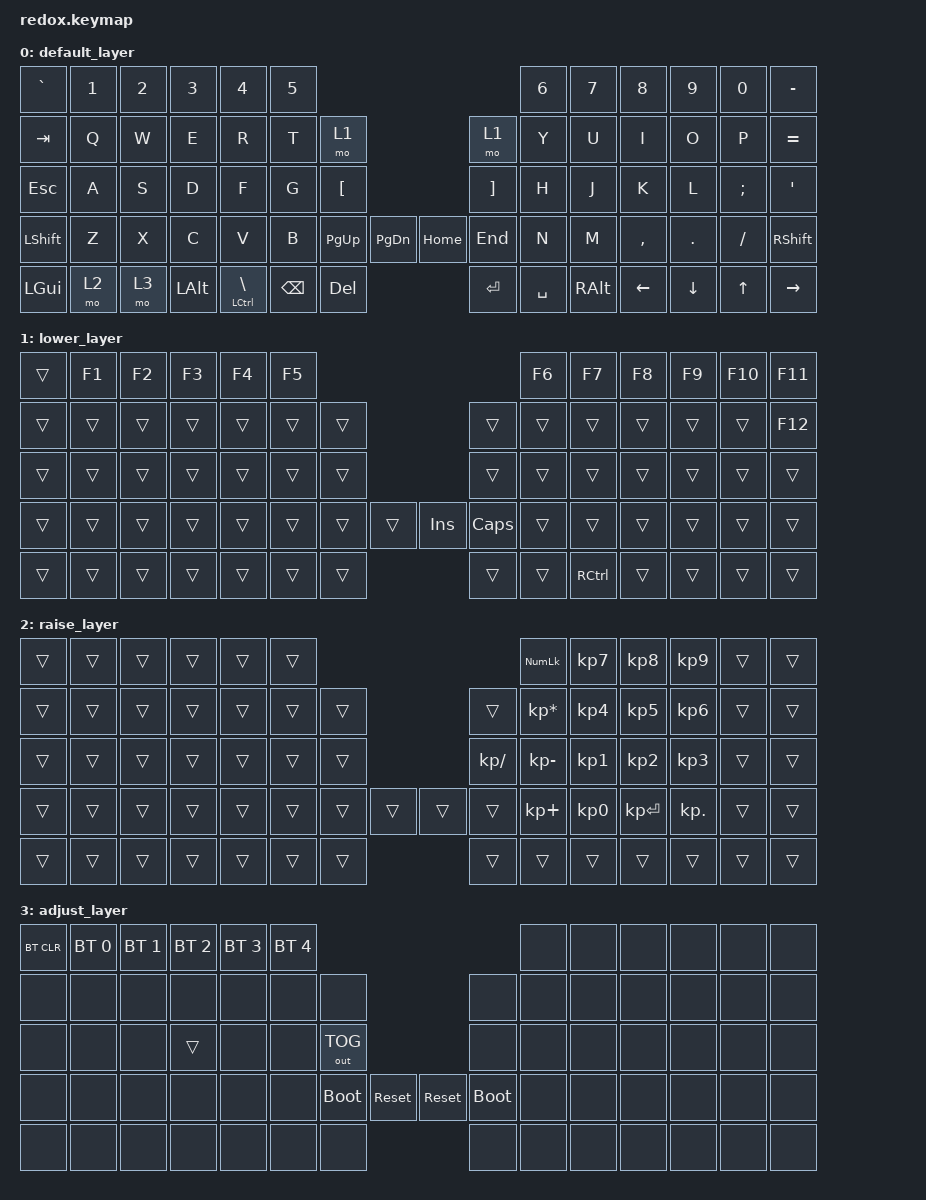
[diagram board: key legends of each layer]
/*
 * Copyright (c) 2021 The ZMK Contributors
 *
 * SPDX-License-Identifier: MIT
 */

#include <behaviors.dtsi>
#include <dt-bindings/zmk/keys.h>
#include <dt-bindings/zmk/bt.h>
#include <dt-bindings/zmk/outputs.h>

/ {
    keymap {
        compatible = "zmk,keymap";

        default_layer {
            // --------------------------------------------------------------------------------------------------------------------------------
            // | ESC   |  1  |  2  |   3   |  4  |  5  |                   ---                |  6    |  7    |  8    |  9   | 0  |    BKSP   |
            // | TAB   |  Q  |  W  |   E   |  R  |  T  |   (   |           ---        |  )    |  Y    |  U    |  I    |  O   | P  |     -     |
            // | CTRL  |  A  |  S  |   D   |  F  |  G  |   [   |           ---        |  ]    |  H    |  J    |  K    |  L   | ;  |     '     |
            // | SHIFT |  Z  |  X  |   C   |  V  |  B  | PG_UP | PG_DOWN | --- | HOME | END   |  N    |  M    |  ,    |  .   | /  | SHFT(RET) |
            // | CRTL  | ALT | GUI | LOWER |    GUI    | LOWER | SPACE   | --- | DEL  | SPACE |     RAISE     | LEFT  | DOWN | UP |   RIGHT   |

            bindings = <
 &kp GRAVE  &kp N1  &kp N2        &kp N3                      &kp N4  &kp N5                                                  &kp N6         &kp N7     &kp N8    &kp N9    &kp N0  &kp MINUS
   &kp TAB   &kp Q   &kp W         &kp E                       &kp R   &kp T          &mo 1                            &mo 1   &kp Y          &kp U      &kp I     &kp O     &kp P  &kp EQUAL
&kp ESCAPE   &kp A   &kp S         &kp D                       &kp F   &kp G       &kp LBKT                         &kp RBKT   &kp H          &kp J      &kp K     &kp L  &kp SEMI    &kp SQT
 &kp LSHFT   &kp Z   &kp X         &kp C                       &kp V   &kp B      &kp PG_UP  &kp PG_DN   &kp HOME    &kp END   &kp N          &kp M  &kp COMMA   &kp DOT  &kp FSLH  &kp RSHFT
  &kp LGUI   &mo 2   &mo 3  &kp LEFT_ALT  &mt LEFT_CONTROL BACKSLASH          &kp BACKSPACE    &kp DEL  &kp ENTER  &kp SPACE          &kp RIGHT_ALT   &kp LEFT  &kp DOWN    &kp UP  &kp RIGHT
            >;
        };

        lower_layer {
            // --------------------------------------------------------------------------------------------------------------------------
            // | ESC   |  1  |  2  |   3   |   4   |  5  |                   ---              |  6  |  7  |   8  |  9   |  0  |  DEL  |
            // | ESC   |  1  |  2  |   3   |   4   |  5  |   (   |           ---        |  )  |  6  |  7  |   8  |  9   |  0  |  DEL  |
            // | CTRL  |  -  |  =  |   [   |   ]   |  \  |   [   |           ---        |  ]  |  *  |  4  |   5  |  6   |  +  |   -   |
            // | SHIFT | ESC | GUI | COPY  | PASTE |     | PG_UP | PG_DOWN | --- | HOME | END |  \  |  1  |   2  |  3   | RET |  RET  |
            // | CRTL  | ALT | GUI | LOWER |     GUI     | LOWER | SPACE   | --- | DEL  |  0  |    RAISE  | LEFT | DOWN | UP  | RIGHT |

            bindings = <
&trans  &kp F1  &kp F2  &kp F3  &kp F4  &kp F5                                         &kp F6             &kp F7  &kp F8  &kp F9  &kp F10  &kp F11
&trans  &trans  &trans  &trans  &trans  &trans  &trans                         &trans  &trans             &trans  &trans  &trans   &trans  &kp F12
&trans  &trans  &trans  &trans  &trans  &trans  &trans                         &trans  &trans             &trans  &trans  &trans   &trans   &trans
&trans  &trans  &trans  &trans  &trans  &trans  &trans  &trans  &kp INS  &kp CAPSLOCK  &trans             &trans  &trans  &trans   &trans   &trans
&trans  &trans  &trans  &trans  &trans          &trans  &trans   &trans        &trans          &kp RIGHT_CONTROL  &trans  &trans   &trans   &trans
            >;
        };

        raise_layer {
            // ----------------------------------------------------------------------------------------------------------------------------
            // | ESC   |  1  |  2  |   3   |  4  |  5  |                   ---                |  6   |  7   |  8   |  9   |  0    |  DEL  |
            // | ESC   |  !  |  @  |   #   |  $  |  %  |   (   |           ---        |  )    |  ^   |  &   |  *   |  (   |  )    |  DEL  |
            // | CTRL  |  _  |  +  |   {   |  }  | "|" |   [   |           ---        |  ]    | HOME | PGUP | PRSC | UP   |  `    |   ~   |
            // | SHIFT | ESC | GUI |   (   |  )  |     | PG_UP | PG_DOWN | --- | HOME | END   | END  | PGDN | LEFT | DOWN | RIGHT |  RET  |
            // | CRTL  | ALT | GUI | LOWER |    GUI    | LOWER | SPACE   | --- | DEL  | SPACE |    RAISE    | LEFT | DOWN | UP    | RIGHT |

            bindings = <
&trans  &trans  &trans  &trans  &trans  &trans                                          &kp KP_NUMLOCK        &kp KP_N7        &kp KP_N8        &kp KP_N9  &trans  &trans
&trans  &trans  &trans  &trans  &trans  &trans  &trans                         &trans  &kp KP_MULTIPLY        &kp KP_N4        &kp KP_N5  &kp KP_NUMBER_6  &trans  &trans
&trans  &trans  &trans  &trans  &trans  &trans  &trans                  &kp KP_DIVIDE     &kp KP_MINUS  &kp KP_NUMBER_1  &kp KP_NUMBER_2        &kp KP_N3  &trans  &trans
&trans  &trans  &trans  &trans  &trans  &trans  &trans  &trans  &trans         &trans      &kp KP_PLUS  &kp KP_NUMBER_0     &kp KP_ENTER       &kp KP_DOT  &trans  &trans
&trans  &trans  &trans  &trans  &trans          &trans  &trans  &trans         &trans                            &trans           &trans           &trans  &trans  &trans
            >;
        };

        adjust_layer {
            // -----------------------------------------------------------------------------------------
            // |  F1   |  F2   |    F3    |    F4     |     F5     | F6 |                   ---                | F7  | F8  |  F9  |  F10 | F11 | F12        |
            // | TAB   |       |          |           |            |    | BOOTL |           ---        |  )    | BT1 | BT2 |  BT3 |  BT4 | BT5 | OUTPUT TGL |
            // | CTRL  | MUTE  |  Vol Dn  |  Vol Up   | Play/Pause |    | RESET |           ---        |  ]    | F1  | F2  |  F3  |  F4  | F5  | F6         |
            // | SHIFT | PSCRN |  PSCRN   |   CAPS    |            |    | PG_UP | PG_DOWN | --- | HOME | END   | F7  | F8  |  F9  |  F10 | F11 | F12        |
            // | CRTL  | ALT   |  GUI     |   LOWER   |      GUI        | LOWER | SPACE   | --- | DEL  | SPACE |   RAISE   | LEFT | DOWN | UP  |   RIGHT    |

            bindings = <
&bt BT_CLR  &bt BT_SEL 0  &bt BT_SEL 1  &bt BT_SEL 2  &bt BT_SEL 3  &bt BT_SEL 4                                                     &none  &none  &none  &none  &none  &none
     &none         &none         &none         &none         &none         &none         &none                                &none  &none  &none  &none  &none  &none  &none
     &none         &none         &none        &trans         &none         &none  &out OUT_TOG                                &none  &none  &none  &none  &none  &none  &none
     &none         &none         &none         &none         &none         &none   &bootloader  &sys_reset  &sys_reset  &bootloader  &none  &none  &none  &none  &none  &none
     &none         &none         &none         &none         &none                       &none       &none       &none        &none         &none  &none  &none  &none  &none
            >;
        };
    };
};
